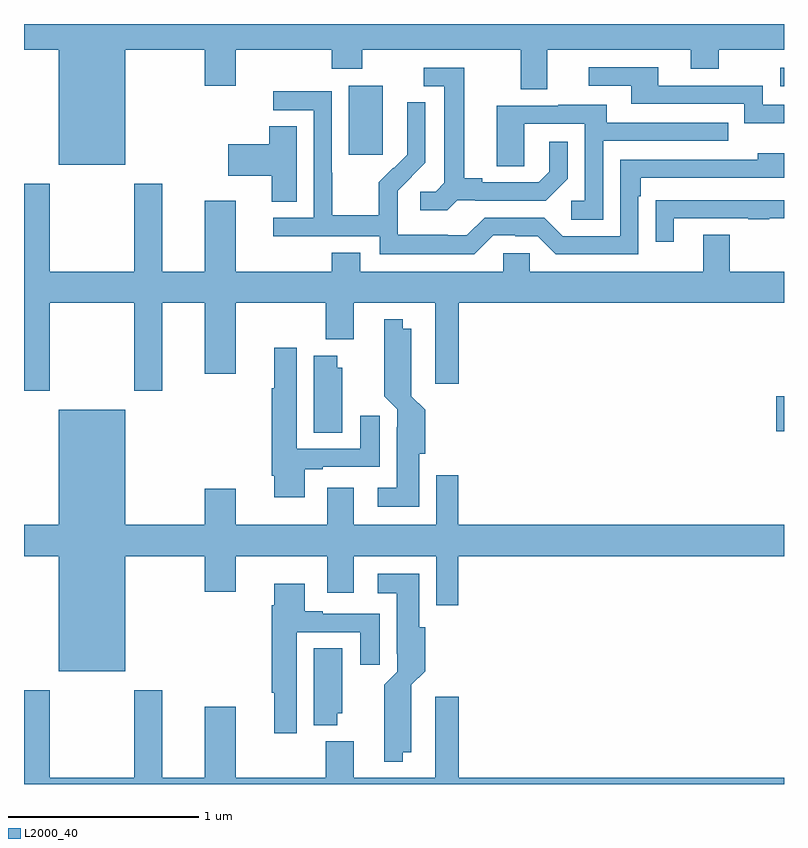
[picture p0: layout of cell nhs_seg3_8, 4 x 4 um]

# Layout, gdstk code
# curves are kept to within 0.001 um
import gdstk
lib = gdstk.Library(unit=1e-6, precision=1e-09)
def R(c, l, rs):  # rectangles x0, y0, x1, y1
    for r in rs: c.add(gdstk.rectangle(r[:2], r[2:], *l))
def P(c, l, *ps):  # polygons
    for p in ps: c.add(gdstk.Polygon(p, *l))
L2000_40 = (2000, 40)

nhs_seg3_8 = lib.new_cell('nhs_seg3_8')
R(nhs_seg3_8, L2000_40, [(114.96,684.257,115,684.44), (112.709,685.713,112.888,686.074), (114.981,686.073,115,686.169)])
P(nhs_seg3_8, L2000_40, [(111.532,686.264),(111.95,686.264),(111.95,686.076),(112.114,686.076),(112.114,686.264),(112.619,686.264),(112.619,686.165),(112.779,686.165),(112.779,686.264),(113.615,686.264),(113.615,686.056),(113.755,686.056),(113.755,686.264),(114.509,686.264),(114.509,686.165),(114.657,686.165),(114.657,686.264),(115,686.264),(115,686.4),(111,686.4),(111,686.264),(111.182,686.264),(111.182,685.658),(111.532,685.658)],
  [(115,685.974),(114.888,685.974),(114.888,686.076),(114.337,686.076),(114.337,686.172),(113.973,686.172),(113.973,686.076),(114.197,686.076),(114.197,685.98),(114.792,685.98),(114.792,685.877),(115,685.877)],
  [(113.28,685.473),(113.374,685.473),(113.374,685.47),(113.746,685.47),(113.862,685.586),(113.862,685.78),(113.765,685.78),(113.765,685.623),(113.708,685.566),(113.413,685.566),(113.413,685.589),(113.317,685.589),(113.317,686.169),(113.103,686.169),(113.103,686.073),(113.213,686.073),(113.213,685.565),(113.166,685.518),(113.085,685.518),(113.085,685.421),(113.228,685.421)],
  [(113.469,685.287),(113.585,685.287),(113.585,685.284),(113.703,685.284),(113.799,685.188),(114.234,685.188),(114.234,685.493),(114.247,685.493),(114.247,685.59),(115,685.59),(115,685.72),(114.863,685.72),(114.863,685.686),(114.138,685.686),(114.138,685.284),(113.835,685.284),(113.739,685.38),(113.424,685.38),(113.331,685.287),(113.231,685.287),(113.231,685.291),(112.968,685.291),(112.968,685.425),(112.966,685.425),(112.966,685.522),(113.112,685.67),(113.112,685.988),(113.016,685.988),(113.016,685.834),(113.018,685.834),(113.018,685.712),(112.947,685.641),(112.944,685.644),(112.867,685.567),(112.867,685.393),(112.623,685.393),(112.623,685.616),(112.62,685.616),(112.62,686.046),(112.311,686.046),(112.311,685.947),(112.524,685.947),(112.524,685.38),(112.311,685.38),(112.311,685.284),(112.872,685.284),(112.872,685.187),(113.369,685.187)],
  [(114.048,685.785),(114.707,685.785),(114.707,685.881),(114.067,685.881),(114.067,685.975),(113.813,685.975),(113.813,685.971),(113.489,685.971),(113.489,685.651),(113.634,685.651),(113.634,685.875),(113.952,685.875),(113.952,685.47),(113.88,685.47),(113.88,685.369),(114.048,685.369)],
  [(112.435,685.862),(112.292,685.862),(112.292,685.767),(112.074,685.767),(112.074,685.601),(112.304,685.601),(112.304,685.465),(112.435,685.465)],
  [(111.135,684.932),(111.58,684.932),(111.58,684.471),(111.727,684.471),(111.727,684.932),(111.95,684.932),(111.95,684.558),(112.114,684.558),(112.114,684.932),(112.588,684.932),(112.588,684.74),(112.735,684.74),(112.735,684.932),(113.165,684.932),(113.165,684.507),(113.288,684.507),(113.288,684.932),(115,684.932),(115,685.096),(114.715,685.096),(114.715,685.291),(114.575,685.291),(114.575,685.096),(113.661,685.096),(113.661,685.194),(113.523,685.194),(113.523,685.096),(112.771,685.096),(112.771,685.195),(112.619,685.195),(112.619,685.096),(112.114,685.096),(112.114,685.471),(111.95,685.471),(111.95,685.096),(111.727,685.096),(111.727,685.558),(111.58,685.558),(111.58,685.096),(111.135,685.096),(111.135,685.558),(111,685.558),(111,684.471),(111.135,684.471)],
  [(114.421,685.377),(114.811,685.377),(114.811,685.372),(114.923,685.372),(114.923,685.377),(115,685.377),(115,685.473),(114.427,685.473),(114.427,685.472),(114.325,685.472),(114.325,685.254),(114.421,685.254)],
  [(113.08,684.138),(113.111,684.138),(113.111,684.37),(113.039,684.442),(113.038,684.796),(112.993,684.796),(112.993,684.847),(112.896,684.847),(112.895,684.442),(112.965,684.372),(112.965,684.278),(112.961,684.278),(112.961,683.959),(112.863,683.959),(112.863,683.858),(113.08,683.858)],
  [(112.477,684.057),(112.573,684.057),(112.573,684.069),(112.873,684.069),(112.873,684.337),(112.769,684.337),(112.769,684.165),(112.435,684.165),(112.435,684.697),(112.316,684.697),(112.316,684.484),(112.304,684.484),(112.304,684.022),(112.316,684.022),(112.316,683.91),(112.477,683.91)],
  [(112.675,684.591),(112.648,684.591),(112.648,684.655),(112.526,684.655),(112.526,684.25),(112.675,684.25)],
  [(111.532,683.6),(111.95,683.6),(111.95,683.412),(112.114,683.412),(112.114,683.6),(112.595,683.6),(112.595,683.406),(112.735,683.406),(112.735,683.6),(113.169,683.6),(113.169,683.34),(113.285,683.34),(113.285,683.6),(115,683.6),(115,683.764),(113.285,683.764),(113.285,684.025),(113.169,684.025),(113.169,683.764),(112.735,683.764),(112.735,683.959),(112.595,683.959),(112.595,683.764),(112.114,683.764),(112.114,683.953),(111.95,683.953),(111.95,683.764),(111.532,683.764),(111.532,684.37),(111.182,684.37),(111.182,683.764),(111,683.764),(111,683.6),(111.182,683.6),(111.182,682.994),(111.532,682.994)],
  [(112.993,682.568),(113.038,682.568),(113.039,682.922),(113.111,682.994),(113.111,683.226),(113.08,683.226),(113.08,683.506),(112.863,683.506),(112.863,683.405),(112.961,683.405),(112.961,683.086),(112.965,683.086),(112.965,682.992),(112.895,682.922),(112.896,682.517),(112.993,682.517)],
  [(112.435,683.199),(112.769,683.199),(112.769,683.028),(112.873,683.028),(112.873,683.295),(112.573,683.295),(112.573,683.308),(112.477,683.308),(112.477,683.455),(112.316,683.455),(112.316,683.342),(112.304,683.342),(112.304,682.88),(112.316,682.88),(112.316,682.668),(112.435,682.668)],
  [(112.648,682.773),(112.675,682.773),(112.675,683.114),(112.526,683.114),(112.526,682.709),(112.648,682.709)],
  [(115,682.432),(113.288,682.432),(113.288,682.858),(113.165,682.858),(113.165,682.432),(112.735,682.432),(112.735,682.624),(112.588,682.624),(112.588,682.432),(112.114,682.432),(112.114,682.807),(111.95,682.807),(111.95,682.432),(111.727,682.432),(111.727,682.894),(111.58,682.894),(111.58,682.432),(111.135,682.432),(111.135,682.894),(111,682.894),(111,682.4),(115,682.4)])

lib.write_gds('nhs_seg3_8.gds')
